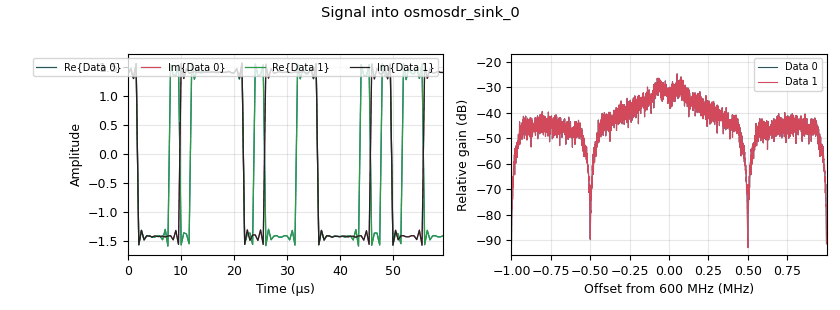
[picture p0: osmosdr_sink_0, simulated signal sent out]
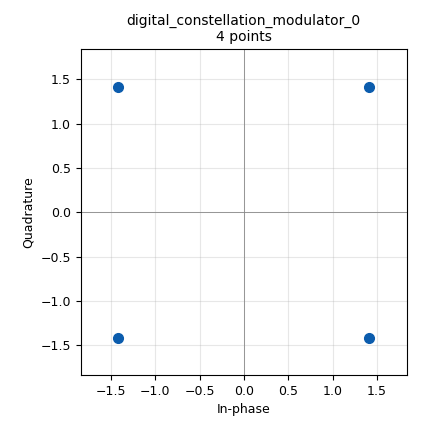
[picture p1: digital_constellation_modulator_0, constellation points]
options:
  parameters:
    author: abhilash
    generate_options: qt_gui
    id: spatialdive_sdr
    output_language: python
    title: Not titled yet
  states: {}

blocks:
- name: arity
  id: variable
  parameters:
    value: '4'
  states: {}
- name: excess_bw
  id: variable
  parameters:
    value: '0.35'
  states: {}
- name: nfilts
  id: variable
  parameters:
    value: '32'
  states: {}
- name: phase_bw
  id: variable_qtgui_range
  parameters:
    label: 'Phase: Bandwidth'
    outputmsgname: value
    showports: 'False'
    start: '0.0'
    step: '0.01'
    stop: '1.0'
    value: 6.28/100.0
    widget: slider
  states: {}
- name: qpsk
  id: variable_constellation
  parameters:
    precision: '8'
    type: qpsk
  states: {}
- name: rrc_taps
  id: variable
  parameters:
    value: firdes.root_raised_cosine(nfilts, nfilts, 1.0/float(sps), 0.35, 11*sps*nfilts)
  states: {}
- name: samp_rate
  id: variable
  parameters:
    value: '2000000'
  states: {}
- name: sps
  id: variable
  parameters:
    value: '2'
  states: {}
- name: taps
  id: variable
  parameters:
    value: '[1.0, 0.25-0.25j, 0.50 + 0.10j, -0.3 + 0.2j]'
  states: {}
- name: timing_loop_bw
  id: variable_qtgui_range
  parameters:
    label: 'Time: BW'
    outputmsgname: value
    showports: 'False'
    start: '0.0'
    step: '0.01'
    stop: '0.2'
    value: 6.28/100.0
    widget: slider
  states: {}
- name: variable_adaptive_algorithm_0
  id: variable_adaptive_algorithm
  parameters:
    cons: variable_constellation_rect_0
    modulus: '4'
    step_size: '.0001'
    type: cma
  states: {}
- name: variable_constellation_rect_0
  id: variable_constellation_rect
  parameters:
    const_points: '[-1-1j, -1+1j, 1+1j, 1-1j]'
    imag_sect: '2'
    real_sect: '2'
    rot_sym: '4'
    sym_map: '[0, 1, 3, 2]'
    w_imag_sect: '1'
    w_real_sect: '1'
  states: {}
- name: analog_random_source_x_0
  id: analog_random_source_x
  parameters:
    max: '2'
    min: '0'
    num_samps: '10000'
    repeat: 'True'
    type: byte
  states: {}
- name: digital_constellation_modulator_0
  id: digital_constellation_modulator
  parameters:
    constellation: qpsk
    differential: 'True'
    excess_bw: '0.35'
    samples_per_symbol: '2'
  states: {}
- name: digital_symbol_sync_xx_0
  id: digital_symbol_sync_xx
  parameters:
    damping: '1.0'
    loop_bw: '0.045'
    max_dev: '1.5'
    osps: '1'
    resamp_type: digital.IR_MMSE_8TAP
    sps: sps
    ted_gain: '1.0'
    ted_type: digital.TED_MUELLER_AND_MULLER
    type: cc
  states: {}
- name: osmosdr_sink_0
  id: osmosdr_sink
  parameters:
    args: hackrf=0 hackrf=1
    bb_gain0: '30'
    bb_gain1: '30'
    bw0: 5e6
    bw1: 5e6
    corr1: '0'
    freq0: 600e6
    freq1: 600e6
    gain0: '20'
    gain1: '20'
    if_gain0: '30'
    if_gain1: '30'
    nchan: '2'
    sample_rate: samp_rate
    sync: pc_clock
    type: fc32
  states: {}

connections:
- [analog_random_source_x_0, '0', digital_constellation_modulator_0, '0']
- [digital_constellation_modulator_0, '0', digital_symbol_sync_xx_0, '0']
- [digital_symbol_sync_xx_0, '0', osmosdr_sink_0, '0']
- [digital_symbol_sync_xx_0, '0', osmosdr_sink_0, '1']

metadata:
  file_format: 1
  grc_version: 3.10.4.0
